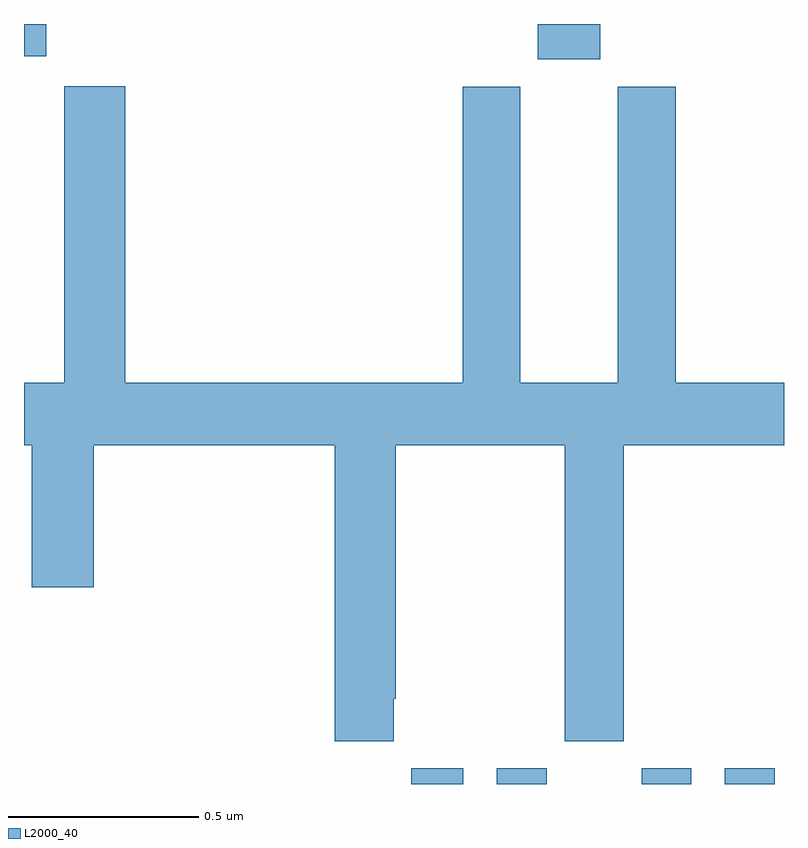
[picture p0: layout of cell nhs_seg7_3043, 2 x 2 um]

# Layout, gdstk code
import gdstk
lib = gdstk.Library(unit=1e-6, precision=1e-09)
def R(c, l, rs):  # rectangles x0, y0, x1, y1
    for r in rs: c.add(gdstk.rectangle(r[:2], r[2:], *l))
def P(c, l, *ps):  # polygons
    for p in ps: c.add(gdstk.Polygon(p, *l))
L2000_40 = (2000, 40)

nhs_seg7_3043 = lib.new_cell('nhs_seg7_3043')
R(nhs_seg7_3043, L2000_40, [(154.019,1057,154.156,1057.042), (154.244,1057,154.375,1057.042), (154.625,1057,154.756,1057.042), (154.844,1057,154.975,1057.042), (154.352,1058.907,154.516,1059), (153,1058.915,153.058,1059)])
P(nhs_seg7_3043, L2000_40, [(153.973,1057.225),(153.978,1057.225),(153.978,1057.892),(154.423,1057.892),(154.423,1057.113),(154.578,1057.113),(154.578,1057.892),(155,1057.892),(155,1058.056),(154.715,1058.056),(154.715,1058.835),(154.562,1058.835),(154.562,1058.056),(154.306,1058.056),(154.306,1058.835),(154.154,1058.835),(154.154,1058.056),(153.266,1058.056),(153.266,1058.836),(153.106,1058.836),(153.106,1058.056),(153,1058.056),(153,1057.892),(153.02,1057.892),(153.02,1057.518),(153.184,1057.518),(153.184,1057.892),(153.818,1057.892),(153.818,1057.113),(153.973,1057.113)])

lib.write_gds('nhs_seg7_3043.gds')
